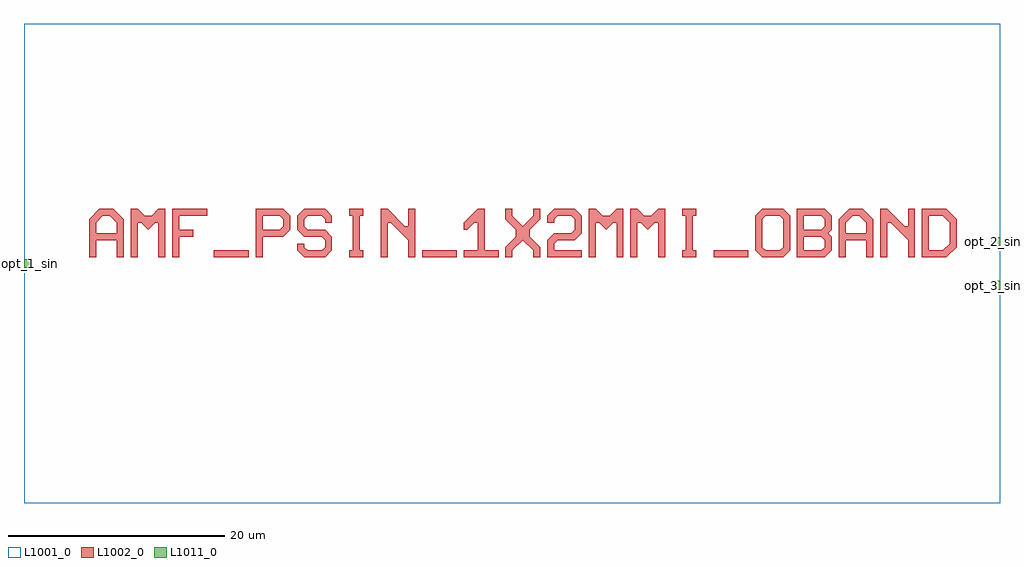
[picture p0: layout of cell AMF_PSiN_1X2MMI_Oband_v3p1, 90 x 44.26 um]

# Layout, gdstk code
import gdstk
lib = gdstk.Library(unit=1e-6, precision=1e-09)
def R(c, l, rs):  # rectangles x0, y0, x1, y1
    for r in rs: c.add(gdstk.rectangle(r[:2], r[2:], *l))
def P(c, l, *ps):  # polygons
    for p in ps: c.add(gdstk.Polygon(p, *l))
L1001_0 = (1001, 0)
L1002_0 = (1002, 0)
L1011_0 = (1011, 0)

amf_psin_1x2mmi_oband_v3 = lib.new_cell('AMF_PSiN_1X2MMI_Oband_v3p1')
R(amf_psin_1x2mmi_oband_v3, L1001_0, [(0,-22.13,90,22.13)])
R(amf_psin_1x2mmi_oband_v3, L1002_0, [(17.52,0.56,20.72,1.2), (36.72,0.56,39.92,1.2), (63.6,0.56,66.8,1.2)])
P(amf_psin_1x2mmi_oband_v3, L1002_0, [(6,0.56),(6,4.08),(6.96,5.04),(8.24,5.04),(8.88,4.4),(7.28,4.4),(6.64,3.76),(6.64,2.8),(8.56,2.8),(8.56,3.76),(7.92,4.4),(8.88,4.4),(9.2,4.08),(9.2,0.56),(8.56,0.56),(8.56,2.16),(6.64,2.16),(6.64,0.56)],
  [(9.84,0.56),(9.84,5.04),(10.48,5.04),(11.12,4.4),(11.76,4.4),(12.4,5.04),(13.04,5.04),(13.04,0.56),(12.4,0.56),(12.4,3.76),(12.08,3.76),(11.44,3.12),(10.8,3.76),(10.48,3.76),(10.48,0.56)],
  [(13.68,0.56),(13.68,5.04),(16.88,5.04),(16.88,4.4),(14.32,4.4),(14.32,3.12),(15.6,3.12),(15.6,2.48),(14.32,2.48),(14.32,0.56)],
  [(21.36,0.56),(21.36,5.04),(23.92,5.04),(24.56,4.4),(24.56,3.12),(23.92,2.48),(22,2.48),(22,3.12),(23.6,3.12),(23.92,3.44),(23.92,4.08),(23.6,4.4),(22,4.4),(22,0.56)],
  [(25.84,0.56),(25.2,1.2),(25.2,1.84),(25.84,1.84),(25.84,1.52),(26.16,1.2),(27.44,1.2),(27.76,1.52),(27.76,2.16),(27.44,2.48),(25.84,2.48),(25.2,3.12),(25.2,4.4),(25.84,5.04),(27.76,5.04),(28.4,4.4),(28.4,3.76),(27.76,3.76),(27.76,4.08),(27.44,4.4),(26.16,4.4),(25.84,4.08),(25.84,3.44),(26.16,3.12),(27.76,3.12),(28.4,2.48),(28.4,1.2),(27.76,0.56)],
  [(30,0.56),(30,1.2),(30.32,1.2),(30.32,4.4),(30,4.4),(30,5.04),(31.28,5.04),(31.28,4.4),(30.96,4.4),(30.96,1.2),(31.28,1.2),(31.28,0.56)],
  [(32.88,0.56),(32.88,5.04),(33.52,5.04),(35.12,3.44),(35.44,3.44),(35.44,5.04),(36.08,5.04),(36.08,0.56),(35.44,0.56),(35.44,2.16),(33.84,3.76),(33.52,3.76),(33.52,0.56)],
  [(40.56,0.56),(40.56,1.2),(41.84,1.2),(41.84,3.76),(41.52,3.76),(40.88,3.12),(40.56,3.12),(40.56,3.76),(41.84,5.04),(42.48,5.04),(42.48,1.2),(43.76,1.2),(43.76,0.56)],
  [(44.4,0.56),(44.4,1.52),(45.36,2.48),(45.36,3.12),(44.4,4.08),(44.4,5.04),(45.04,5.04),(45.04,4.4),(46,3.44),(46.96,4.4),(46.96,5.04),(47.6,5.04),(47.6,4.08),(46.64,3.12),(46.64,2.48),(47.6,1.52),(47.6,0.56),(46.96,0.56),(46.96,1.2),(46,2.16),(45.04,1.2),(45.04,0.56)],
  [(48.24,0.56),(48.24,2.16),(48.88,2.8),(50.48,2.8),(50.8,3.12),(50.8,4.08),(50.48,4.4),(49.2,4.4),(48.88,4.08),(48.88,3.76),(48.24,3.76),(48.24,4.4),(48.88,5.04),(50.8,5.04),(51.44,4.4),(51.44,2.8),(50.8,2.16),(49.2,2.16),(48.88,1.84),(48.88,1.2),(51.44,1.2),(51.44,0.56)],
  [(52.08,0.56),(52.08,5.04),(52.72,5.04),(53.36,4.4),(54,4.4),(54.64,5.04),(55.28,5.04),(55.28,0.56),(54.64,0.56),(54.64,3.76),(54.32,3.76),(53.68,3.12),(53.04,3.76),(52.72,3.76),(52.72,0.56)],
  [(55.92,0.56),(55.92,5.04),(56.56,5.04),(57.2,4.4),(57.84,4.4),(58.48,5.04),(59.12,5.04),(59.12,0.56),(58.48,0.56),(58.48,3.76),(58.16,3.76),(57.52,3.12),(56.88,3.76),(56.56,3.76),(56.56,0.56)],
  [(60.72,0.56),(60.72,1.2),(61.04,1.2),(61.04,4.4),(60.72,4.4),(60.72,5.04),(62,5.04),(62,4.4),(61.68,4.4),(61.68,1.2),(62,1.2),(62,0.56)],
  [(68.08,0.56),(67.44,1.2),(67.44,4.4),(68.08,5.04),(70,5.04),(70.64,4.4),(70.64,2.8),(70,2.8),(70,4.08),(69.68,4.4),(68.4,4.4),(68.08,4.08),(68.08,1.52),(68.4,1.2),(69.68,1.2),(70,1.52),(70,2.8),(70.64,2.8),(70.64,1.2),(70,0.56)],
  [(71.28,0.56),(71.28,5.04),(73.84,5.04),(74.48,4.4),(71.92,4.4),(71.92,3.12),(73.52,3.12),(73.84,3.44),(73.84,4.08),(73.52,4.4),(74.48,4.4),(74.48,3.12),(74.16,2.8),(74.48,2.48),(71.92,2.48),(71.92,1.2),(73.52,1.2),(73.84,1.52),(73.84,2.16),(73.52,2.48),(74.48,2.48),(74.48,1.2),(73.84,0.56)],
  [(75.12,0.56),(75.12,4.08),(76.08,5.04),(77.36,5.04),(78,4.4),(76.4,4.4),(75.76,3.76),(75.76,2.8),(77.68,2.8),(77.68,3.76),(77.04,4.4),(78,4.4),(78.32,4.08),(78.32,0.56),(77.68,0.56),(77.68,2.16),(75.76,2.16),(75.76,0.56)],
  [(78.96,0.56),(78.96,5.04),(79.6,5.04),(81.2,3.44),(81.52,3.44),(81.52,5.04),(82.16,5.04),(82.16,0.56),(81.52,0.56),(81.52,2.16),(79.92,3.76),(79.6,3.76),(79.6,0.56)],
  [(82.8,0.56),(82.8,5.04),(85.04,5.04),(85.68,4.4),(83.44,4.4),(83.44,1.2),(84.72,1.2),(85.36,1.84),(85.36,3.76),(84.72,4.4),(85.68,4.4),(86,4.08),(86,1.52),(85.04,0.56)])
R(amf_psin_1x2mmi_oband_v3, L1011_0, [(89.2,-2.4,90,-1.6), (0,-0.4,0.8,0.4), (89.2,1.6,90,2.4)])
amf_psin_1x2mmi_oband_v3.add(gdstk.Label('opt_2_sin', (90,2), layer=1011, texttype=0))
amf_psin_1x2mmi_oband_v3.add(gdstk.Label('opt_3_sin', (90,-2), layer=1011, texttype=0))
amf_psin_1x2mmi_oband_v3.add(gdstk.Label('opt_1_sin', (0,0), layer=1011, texttype=0))

lib.write_gds('AMF_PSiN_1X2MMI_Oband_v3p1.gds')
